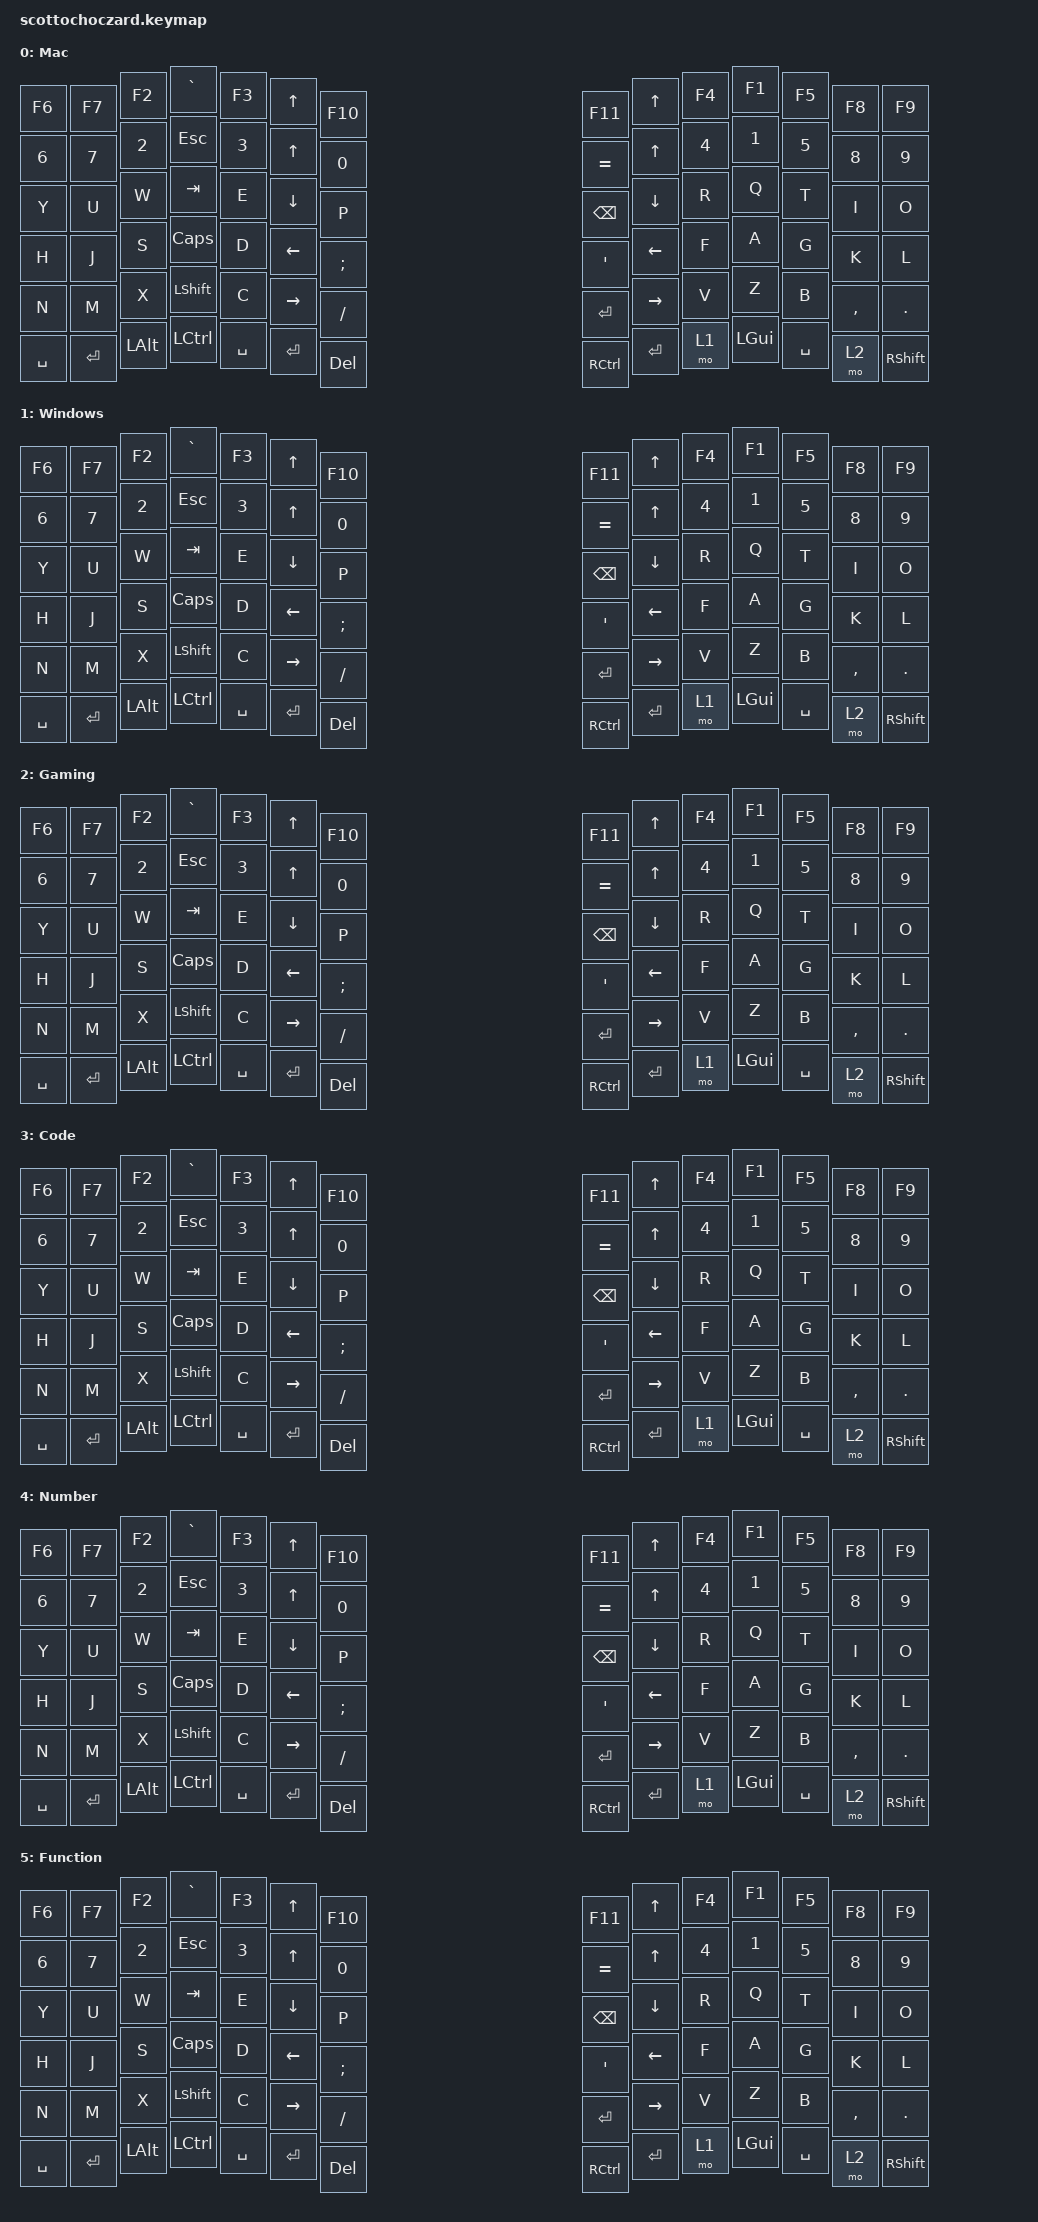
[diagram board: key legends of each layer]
#include <behaviors.dtsi>
#include <dt-bindings/zmk/keys.h>
#include <dt-bindings/zmk/bt.h>

#define MAC 0
#define WINDOWS 1
#define GAME 2
#define CODE 3
#define NUMBER 4
#define FUNCTION 5

// Behavior Overrides
&lt {
    tapping-term-ms = <200>;
    flavor = "hold-preferred";
};

/ {
    macros {
        spotlight: spotlight {
            compatible = "zmk,behavior-macro";
            #binding-cells = <0>;
            bindings = <&macro_press &kp LGUI>, <&macro_tap &kp SPACE>, <&macro_release &kp LGUI>; 
        };

        // Emoji
        mac_emoji: mac_emoji {
            compatible = "zmk,behavior-macro";
            #binding-cells = <0>;
            bindings = <&macro_press &kp LGUI>, <&macro_press &kp LCTRL>, <&macro_tap &kp SPACE>, <&macro_release &kp LCTRL>, <&macro_release &kp LGUI>; 
        };

        windows_emoji: windows_emoji {
            compatible = "zmk,behavior-macro";
            #binding-cells = <0>;
            bindings = <&macro_press &kp LGUI>, <&macro_tap &kp DOT>, <&macro_release &kp LGUI>; 
        };
    };

    behaviors {
        bm: bottom_row_mods {
            compatible = "zmk,behavior-hold-tap";
            #binding-cells = <2>;
            tapping-term-ms = <135>;
            quick-tap-ms = <0>;
            flavor = "tap-preferred";
            bindings = <&kp>, <&kp>;
        };

        cm: code_row_mods {
            compatible = "zmk,behavior-hold-tap";
            #binding-cells = <2>;
            tapping-term-ms = <200>;
            quick-tap-ms = <0>;
            flavor = "tap-preferred";
            bindings = <&kp>, <&kp>;
            retro-tap;
        };

        sm: space_mod {
            compatible = "zmk,behavior-hold-tap";
            #binding-cells = <2>;
            flavor = "balanced";
            tapping-term-ms = <200>;
            quick-tap-ms = <125>;
            bindings = <&kp>, <&kp>;
        };

        td_multi_mac: tap_dance_multi_mac {
            compatible = "zmk,behavior-tap-dance";
            #binding-cells = <0>;
            tapping-term-ms = <200>;
            bindings = <&sm ESC LALT>, <&spotlight>, <&kp LCTRL>, <&mac_emoji>;
        };

        td_multi_windows: tap_dance_multi_windows {
            compatible = "zmk,behavior-tap-dance";
            #binding-cells = <0>;
            tapping-term-ms = <200>;
            bindings = <&sm ESC LALT>, <&kp LGUI>, <&windows_emoji>;
        };
    };
    
    keymap {
        compatible = "zmk,keymap";

        mac_default_layer {
            display-name = "Mac";
            bindings = <
&kp GRAVE  &kp F1    &kp F2    &kp F3     &kp F4  &kp F5     &kp UP           &kp UP_ARROW     &kp F6     &kp F7     &kp F8     &kp F9           &kp F10     &kp F11
&kp ESC    &kp N1    &kp N2    &kp N3     &kp N4  &kp N5     &kp UP_ARROW     &kp UP_ARROW     &kp N6     &kp N7     &kp N8     &kp N9           &kp N0      &kp EQUAL
&kp TAB    &kp Q     &kp W     &kp E      &kp R   &kp T      &kp DOWN_ARROW   &kp DOWN_ARROW   &kp Y      &kp U      &kp I      &kp O            &kp P       &kp BSPC
&kp CAPS   &kp A     &kp S     &kp D      &kp F   &kp G      &kp LEFT_ARROW   &kp LEFT_ARROW   &kp H      &kp J      &kp K      &kp L            &kp SEMI    &kp APOS
&kp LSHFT  &kp Z     &kp X     &kp C      &kp V   &kp B      &kp RIGHT_ARROW  &kp RIGHT_ARROW  &kp N      &kp M      &kp COMMA  &kp DOT          &kp FSLH    &kp ENTER
&kp LCTRL  &kp LGUI  &kp LALT  &kp SPACE  &mo 1   &kp SPACE  &kp ENTER        &kp ENTER        &kp SPACE  &kp ENTER  &mo 2      &kp RIGHT_SHIFT  &kp DELETE  &kp RCTRL
            >;
        };

        windows_default_layer {
            display-name = "Windows";
            bindings = <
&kp GRAVE  &kp F1    &kp F2    &kp F3     &kp F4  &kp F5     &kp UP           &kp UP_ARROW     &kp F6     &kp F7     &kp F8     &kp F9           &kp F10     &kp F11
&kp ESC    &kp N1    &kp N2    &kp N3     &kp N4  &kp N5     &kp UP_ARROW     &kp UP_ARROW     &kp N6     &kp N7     &kp N8     &kp N9           &kp N0      &kp EQUAL
&kp TAB    &kp Q     &kp W     &kp E      &kp R   &kp T      &kp DOWN_ARROW   &kp DOWN_ARROW   &kp Y      &kp U      &kp I      &kp O            &kp P       &kp BSPC
&kp CAPS   &kp A     &kp S     &kp D      &kp F   &kp G      &kp LEFT_ARROW   &kp LEFT_ARROW   &kp H      &kp J      &kp K      &kp L            &kp SEMI    &kp APOS
&kp LSHFT  &kp Z     &kp X     &kp C      &kp V   &kp B      &kp RIGHT_ARROW  &kp RIGHT_ARROW  &kp N      &kp M      &kp COMMA  &kp DOT          &kp FSLH    &kp ENTER
&kp LCTRL  &kp LGUI  &kp LALT  &kp SPACE  &mo 1   &kp SPACE  &kp ENTER        &kp ENTER        &kp SPACE  &kp ENTER  &mo 2      &kp RIGHT_SHIFT  &kp DELETE  &kp RCTRL
            >;
        };

        gaming_layer {
            display-name = "Gaming";
            bindings = <
&kp GRAVE  &kp F1    &kp F2    &kp F3     &kp F4  &kp F5     &kp UP           &kp UP_ARROW     &kp F6     &kp F7     &kp F8     &kp F9           &kp F10     &kp F11
&kp ESC    &kp N1    &kp N2    &kp N3     &kp N4  &kp N5     &kp UP_ARROW     &kp UP_ARROW     &kp N6     &kp N7     &kp N8     &kp N9           &kp N0      &kp EQUAL
&kp TAB    &kp Q     &kp W     &kp E      &kp R   &kp T      &kp DOWN_ARROW   &kp DOWN_ARROW   &kp Y      &kp U      &kp I      &kp O            &kp P       &kp BSPC
&kp CAPS   &kp A     &kp S     &kp D      &kp F   &kp G      &kp LEFT_ARROW   &kp LEFT_ARROW   &kp H      &kp J      &kp K      &kp L            &kp SEMI    &kp APOS
&kp LSHFT  &kp Z     &kp X     &kp C      &kp V   &kp B      &kp RIGHT_ARROW  &kp RIGHT_ARROW  &kp N      &kp M      &kp COMMA  &kp DOT          &kp FSLH    &kp ENTER
&kp LCTRL  &kp LGUI  &kp LALT  &kp SPACE  &mo 1   &kp SPACE  &kp ENTER        &kp ENTER        &kp SPACE  &kp ENTER  &mo 2      &kp RIGHT_SHIFT  &kp DELETE  &kp RCTRL
            >;
        };

        code_layer {
            display-name = "Code";
            bindings = <
&kp GRAVE  &kp F1    &kp F2    &kp F3     &kp F4  &kp F5     &kp UP           &kp UP_ARROW     &kp F6     &kp F7     &kp F8     &kp F9           &kp F10     &kp F11
&kp ESC    &kp N1    &kp N2    &kp N3     &kp N4  &kp N5     &kp UP_ARROW     &kp UP_ARROW     &kp N6     &kp N7     &kp N8     &kp N9           &kp N0      &kp EQUAL
&kp TAB    &kp Q     &kp W     &kp E      &kp R   &kp T      &kp DOWN_ARROW   &kp DOWN_ARROW   &kp Y      &kp U      &kp I      &kp O            &kp P       &kp BSPC
&kp CAPS   &kp A     &kp S     &kp D      &kp F   &kp G      &kp LEFT_ARROW   &kp LEFT_ARROW   &kp H      &kp J      &kp K      &kp L            &kp SEMI    &kp APOS
&kp LSHFT  &kp Z     &kp X     &kp C      &kp V   &kp B      &kp RIGHT_ARROW  &kp RIGHT_ARROW  &kp N      &kp M      &kp COMMA  &kp DOT          &kp FSLH    &kp ENTER
&kp LCTRL  &kp LGUI  &kp LALT  &kp SPACE  &mo 1   &kp SPACE  &kp ENTER        &kp ENTER        &kp SPACE  &kp ENTER  &mo 2      &kp RIGHT_SHIFT  &kp DELETE  &kp RCTRL
            >;
        };

        number_layer {
            display-name = "Number";
            bindings = < 
&kp GRAVE  &kp F1    &kp F2    &kp F3     &kp F4  &kp F5     &kp UP           &kp UP_ARROW     &kp F6     &kp F7     &kp F8     &kp F9           &kp F10     &kp F11
&kp ESC    &kp N1    &kp N2    &kp N3     &kp N4  &kp N5     &kp UP_ARROW     &kp UP_ARROW     &kp N6     &kp N7     &kp N8     &kp N9           &kp N0      &kp EQUAL
&kp TAB    &kp Q     &kp W     &kp E      &kp R   &kp T      &kp DOWN_ARROW   &kp DOWN_ARROW   &kp Y      &kp U      &kp I      &kp O            &kp P       &kp BSPC
&kp CAPS   &kp A     &kp S     &kp D      &kp F   &kp G      &kp LEFT_ARROW   &kp LEFT_ARROW   &kp H      &kp J      &kp K      &kp L            &kp SEMI    &kp APOS
&kp LSHFT  &kp Z     &kp X     &kp C      &kp V   &kp B      &kp RIGHT_ARROW  &kp RIGHT_ARROW  &kp N      &kp M      &kp COMMA  &kp DOT          &kp FSLH    &kp ENTER
&kp LCTRL  &kp LGUI  &kp LALT  &kp SPACE  &mo 1   &kp SPACE  &kp ENTER        &kp ENTER        &kp SPACE  &kp ENTER  &mo 2      &kp RIGHT_SHIFT  &kp DELETE  &kp RCTRL
            >;
        };

        function_layer {
            display-name = "Function";
            bindings =<
&kp GRAVE  &kp F1    &kp F2    &kp F3     &kp F4  &kp F5     &kp UP           &kp UP_ARROW     &kp F6     &kp F7     &kp F8     &kp F9           &kp F10     &kp F11
&kp ESC    &kp N1    &kp N2    &kp N3     &kp N4  &kp N5     &kp UP_ARROW     &kp UP_ARROW     &kp N6     &kp N7     &kp N8     &kp N9           &kp N0      &kp EQUAL
&kp TAB    &kp Q     &kp W     &kp E      &kp R   &kp T      &kp DOWN_ARROW   &kp DOWN_ARROW   &kp Y      &kp U      &kp I      &kp O            &kp P       &kp BSPC
&kp CAPS   &kp A     &kp S     &kp D      &kp F   &kp G      &kp LEFT_ARROW   &kp LEFT_ARROW   &kp H      &kp J      &kp K      &kp L            &kp SEMI    &kp APOS
&kp LSHFT  &kp Z     &kp X     &kp C      &kp V   &kp B      &kp RIGHT_ARROW  &kp RIGHT_ARROW  &kp N      &kp M      &kp COMMA  &kp DOT          &kp FSLH    &kp ENTER
&kp LCTRL  &kp LGUI  &kp LALT  &kp SPACE  &mo 1   &kp SPACE  &kp ENTER        &kp ENTER        &kp SPACE  &kp ENTER  &mo 2      &kp RIGHT_SHIFT  &kp DELETE  &kp RCTRL
            >;
        };
    };
};
